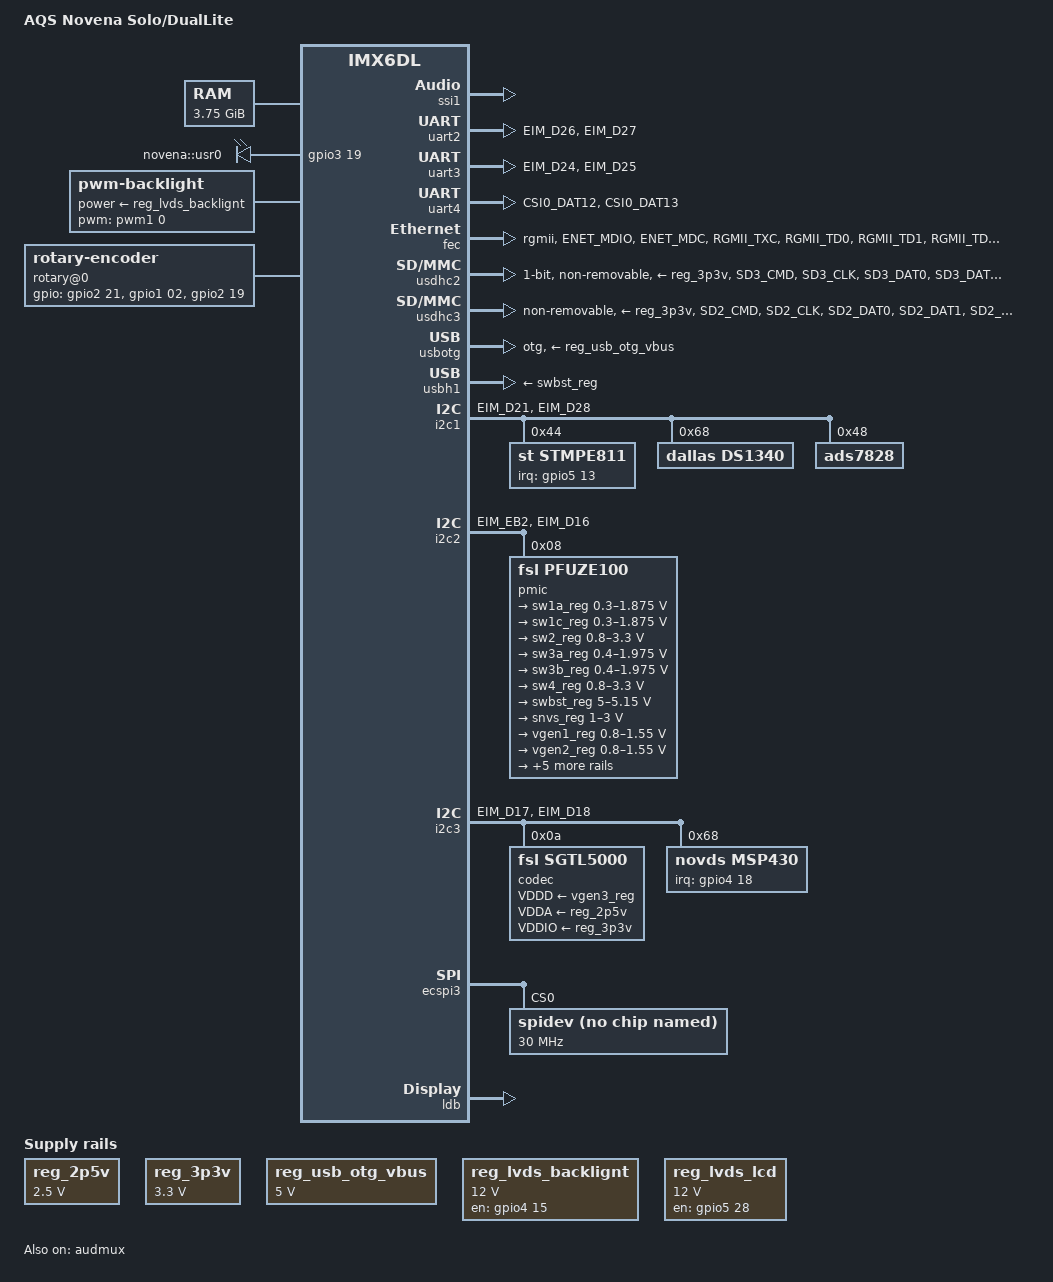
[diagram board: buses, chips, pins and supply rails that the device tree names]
/*
 * Copyright 2012 Freescale Semiconductor, Inc.
 * Copyright 2011 Linaro Ltd.
 *
 * The code contained herein is licensed under the GNU General Public
 * License. You may obtain a copy of the GNU General Public License
 * Version 2 or later at the following locations:
 *
 * http://www.opensource.org/licenses/gpl-license.html
 * http://www.gnu.org/copyleft/gpl.html
 */

/dts-v1/;

#include "imx6dl.dtsi"

/ {
	model = "AQS Novena Solo/DualLite";
	compatible = "aqs,novena-dl", "kosagi,novena-dl", "fsl,imx6dl";

	memory {
		reg = <0x10000000 0xefffffff>;
	};

	soc {
		aips-bus@0200000 {
			snvs@020cc000 {
				snvs-rtc-lp@34 {
					status = "disabled";
				};
			};
		};
	};

	regulators {
		compatible = "simple-bus";

		reg_2p5v: 2p5v {
			compatible = "regulator-fixed";
			regulator-name = "2P5V";
			regulator-min-microvolt = <2500000>;
			regulator-max-microvolt = <2500000>;
			regulator-always-on;
		};

		reg_3p3v: 3p3v {
			compatible = "regulator-fixed";
			regulator-name = "3P3V";
			regulator-min-microvolt = <3300000>;
			regulator-max-microvolt = <3300000>;
			regulator-always-on;
		};

		reg_usb_otg_vbus: usb_otg_vbus {
			compatible = "regulator-fixed";
			regulator-name = "usb_otg_vbus";
			regulator-min-microvolt = <5000000>;
			regulator-max-microvolt = <5000000>;
			enable-active-high;
		};
		reg_lvds_backlignt: lcd_backlight_regulator {
			compatible = "regulator-fixed";
			regulator-name = "lcd-backlight-power";
			regulator-min-microvolt = <12000000>;
			regulator-max-microvolt = <12000000>;
			gpio = <&gpio4 15 0>;
			enable-active-high;
			regulator-boot-on;
		};
		reg_lvds_lcd: lcd_pwr_ctrl {
			compatible = "regulator-fixed";
			regulator-name = "lcd-lvds-power";
			regulator-min-microvolt = <12000000>;
			regulator-max-microvolt = <12000000>;
			startup-delay-us = <50000>;
			gpio = <&gpio5 28 0>;
			enable-active-high;
			regulator-boot-on;
		};
	};

	imx-drm {
		compatible = "fsl,imx-drm";
		crtcs = <&ipu1 0>, <&ipu1 1>;
		connectors = <&ldb>;
	};

	leds {
		compatible = "gpio-leds";
		heartbeat {
			label = "novena::usr0";
			gpios = <&gpio3 19 0>;
			linux,default-trigger = "heartbeat";
		};
	};
	leds-novds {
		compatible = "leds-novds";
		pinctrl-names = "default";
		pinctrl-0 = <&pinctrl_leds_novds>;
	};


	backlight {
		compatible = "pwm-backlight";
		pwms = <&pwm1 0 10000000>;

		pinctrl-names = "default";
		pinctrl-0 = <&pinctrl_backlight_novena>;
		power-supply = <&reg_lvds_backlignt>;

		brightness-levels = <0 40 50 60 68 76 84 92 100 110 120>;
		default-brightness-level = <10>;
	};


	rotary@0 {
		compatible = "rotary-encoder";
		pinctrl-names = "default";
		pinctrl-0 = <&pinctrl_novds_wheel>;
		gpios = <&gpio2 21 0>, <&gpio1 02 0>, <&gpio2 19 0>;
		linux,axis = <8>; /* REL_WHEEL */
		rotary-encoder,relative-axis;
		rotary-encoder,half-period;
	};

	sound {
		compatible = "fsl,imx-audio-sgtl5000",
			     "fsl,imx-noventds-sgtl5000";
		model = "imx6dl-noventds-sgtl5000";
		ssi-controller = <&ssi1>;
		audio-codec = <&codec>;
		audio-routing =
			"MIC_IN", "Mic Jack",
			"Mic Jack", "Mic Bias",
			"Line out", "LINE_OUT";
		mux-int-port = <1>;
		mux-ext-port = <3>;
	};
};

&ssi1 {
	fsl,mode = "i2s-slave";
	status = "okay";
};

&uart2 {
	status = "okay";
	pinctrl-names = "default";
	pinctrl-0 = <&pinctrl_uart2_novena>;
};

&uart3 {
	status = "okay";
	pinctrl-names = "default";
	pinctrl-0 = <&pinctrl_uart3_novena>;
};

&uart4 {
	status = "okay";
	pinctrl-names = "default";
	pinctrl-0 = <&pinctrl_uart4_novena>;
};

&iomuxc {
	pinctrl-names = "default";
	pinctrl-0 = <&pinctrl_hog>;

	backlight {
		pinctrl_backlight_novena: backlight-pwm {
			fsl,pins = <
				MX6QDL_PAD_DISP0_DAT8__PWM1_OUT   0x1b0b0
				MX6QDL_PAD_CSI0_DAT10__GPIO5_IO28 0x80000000
				MX6QDL_PAD_KEY_ROW4__GPIO4_IO15   0x80000000
			>;
		};
	};

	enet {
		pinctrl_enet_novena: enetgrp-novena {
			fsl,pins = <
				MX6QDL_PAD_ENET_MDIO__ENET_MDIO       0x1b0b0
				MX6QDL_PAD_ENET_MDC__ENET_MDC         0x1b0b0
				MX6QDL_PAD_RGMII_TXC__RGMII_TXC       0x1b020
				MX6QDL_PAD_RGMII_TD0__RGMII_TD0       0x1b028
				MX6QDL_PAD_RGMII_TD1__RGMII_TD1       0x1b028
				MX6QDL_PAD_RGMII_TD2__RGMII_TD2       0x1b028
				MX6QDL_PAD_RGMII_TD3__RGMII_TD3       0x1b028
				MX6QDL_PAD_RGMII_TX_CTL__RGMII_TX_CTL 0x1b028
				MX6QDL_PAD_ENET_REF_CLK__ENET_TX_CLK  0x1b0b0
				MX6QDL_PAD_RGMII_RXC__RGMII_RXC       0x1b0b0
				MX6QDL_PAD_RGMII_RD0__RGMII_RD0       0x1b0b0
				MX6QDL_PAD_RGMII_RD1__RGMII_RD1       0x1b0b0
				MX6QDL_PAD_RGMII_RD2__RGMII_RD2       0x1b0b0
				MX6QDL_PAD_RGMII_RD3__RGMII_RD3       0x1b0b0
				MX6QDL_PAD_RGMII_RX_CTL__RGMII_RX_CTL 0x1b0b0
				MX6QDL_PAD_GPIO_16__ENET_REF_CLK      0x4001b0a8

				/* Ethernet reset */
				MX6QDL_PAD_EIM_D23__GPIO3_IO23  0x80000000
			>;
		};
	};

	i2c1 {
		pinctrl_i2c1_novena: i2c1grp-novena {
			fsl,pins = <
				MX6QDL_PAD_EIM_D21__I2C1_SCL 0x4001b8b1
				MX6QDL_PAD_EIM_D28__I2C1_SDA 0x4001b8b1
			>;
		};
	};
	i2c2 {
		pinctrl_i2c2_novena: i2c2grp-novena {
			fsl,pins = <
				MX6QDL_PAD_EIM_EB2__I2C2_SCL 0x4001b8b1
				MX6QDL_PAD_EIM_D16__I2C2_SDA 0x4001b8b1
			>;
		};
	};

	i2c3 {
		pinctrl_i2c3_novena: i2c3grp-novena {
			fsl,pins = <
				MX6QDL_PAD_EIM_D17__I2C3_SCL 0x4001b8b1
				MX6QDL_PAD_EIM_D18__I2C3_SDA 0x4001b8b1
			>;
		};
	};

	hog {
		pinctrl_hog: hoggrp {
			fsl,pins = <
				/* Touchscreen interrupt */
				MX6QDL_PAD_DISP0_DAT19__GPIO5_IO13 0x80000000

				/* zero valve */
				MX6QDL_PAD_DISP0_DAT5__GPIO4_IO26 0X80000000

				/* water full detector */
				MX6QDL_PAD_EIM_A16__GPIO2_IO22  0X80000000

				/* backup switch detector */
				MX6QDL_PAD_CSI0_DAT16__GPIO6_IO02 0X80000000

				/* power enable for delivery board */
				MX6QDL_PAD_DI0_PIN3__GPIO4_IO19 0X80000000
			>;
		};
	};

	pcie {
		pinctrl_pcie_novena: pciegrp-novena {
			fsl,pins = <
				/* Wakeup */
				MX6QDL_PAD_EIM_D22__GPIO3_IO22  0x80000000

				/* Reset */
				MX6QDL_PAD_EIM_D29__GPIO3_IO29  0x80000000

				/* Power On */
				MX6QDL_PAD_GPIO_17__GPIO7_IO12  0x80000000

				/* Wifi kill */
				MX6QDL_PAD_EIM_A22__GPIO2_IO16  0x80000000
			>;
		};
	};

	sound {
		pinctrl_sound_novena: sound-novena {
			fsl,pins = <
				/* Audio power regulator */
				MX6QDL_PAD_DISP0_DAT23__GPIO5_IO17 0x80000000

				/* Headphone plug */
				MX6QDL_PAD_DISP0_DAT21__GPIO5_IO15 0x80000000

				/* Speaker amplifier mute */
				MX6QDL_PAD_KEY_ROW1__GPIO4_IO09    0x80000000

				/* Audio mclk */
				MX6QDL_PAD_GPIO_0__CCM_CLKO1       0x80000000
			>;
		};
	};

	uart2 {
		pinctrl_uart2_novena: uart2grp-novena {
			fsl,pins = <
				MX6QDL_PAD_EIM_D26__UART2_TX_DATA   0x1b0b1
				MX6QDL_PAD_EIM_D27__UART2_RX_DATA   0x1b0b1
			>;
		};
	};

	uart3 {
		pinctrl_uart3_novena: uart3grp-novena {
			fsl,pins = <
				MX6QDL_PAD_EIM_D24__UART3_TX_DATA 0x1b0b1
				MX6QDL_PAD_EIM_D25__UART3_RX_DATA 0x1b0b1
			>;
		};
	};
	uart4 {
		pinctrl_uart4_novena: uart4-novena {
			fsl,pins = <
				MX6QDL_PAD_CSI0_DAT12__UART4_TX_DATA 0x1b0b1
				MX6QDL_PAD_CSI0_DAT13__UART4_RX_DATA 0x1b0b1
			>;
		};
	};

	usdhc3 {
		pinctrl_usdhc3_novena: usdhc3-novena {
			fsl,pins = <
				MX6QDL_PAD_SD2_CMD__SD2_CMD    0x17059
				MX6QDL_PAD_SD2_CLK__SD2_CLK    0x10059
				MX6QDL_PAD_SD2_DAT0__SD2_DATA0 0x17059
				MX6QDL_PAD_SD2_DAT1__SD2_DATA1 0x17059
				MX6QDL_PAD_SD2_DAT2__SD2_DATA2 0x17059
				MX6QDL_PAD_SD2_DAT3__SD2_DATA3 0x17059
			>;
		};
	};
	usdhc2 {
		pinctrl_novena_usdhc2: novena-usdhc2 {
			fsl,pins = <
				MX6QDL_PAD_SD3_CMD__SD3_CMD	0x17059
				MX6QDL_PAD_SD3_CLK__SD3_CLK	0x10059
				MX6QDL_PAD_SD3_DAT0__SD3_DATA0	0x17059
				MX6QDL_PAD_SD3_DAT1__SD3_DATA1	0x17059
				MX6QDL_PAD_SD3_DAT2__SD3_DATA2	0x17059
				MX6QDL_PAD_SD3_DAT3__SD3_DATA3	0x17059
				MX6QDL_PAD_SD3_DAT4__SD3_DATA4	0x17059
				MX6QDL_PAD_SD3_DAT5__SD3_DATA5	0x17059
				MX6QDL_PAD_SD3_DAT6__SD3_DATA6	0x17059
				MX6QDL_PAD_SD3_DAT7__SD3_DATA7	0x17059
				MX6QDL_PAD_SD3_RST__GPIO7_IO08	0x80000000
			>;
		};

		pinctrl_novena_usdhc2_100mhz: novena-usdhc3-100mhz {
			fsl,pins = <
				MX6QDL_PAD_SD3_CMD__SD3_CMD	0x170b9
				MX6QDL_PAD_SD3_CLK__SD3_CLK	0x100b9
				MX6QDL_PAD_SD3_DAT0__SD3_DATA0	0x170b9
				MX6QDL_PAD_SD3_DAT1__SD3_DATA1	0x170b9
				MX6QDL_PAD_SD3_DAT2__SD3_DATA2	0x170b9
				MX6QDL_PAD_SD3_DAT3__SD3_DATA3	0x130b9
				MX6QDL_PAD_SD3_DAT4__SD3_DATA4	0x170b9
				MX6QDL_PAD_SD3_DAT5__SD3_DATA5	0x170b9
				MX6QDL_PAD_SD3_DAT6__SD3_DATA6	0x170b9
				MX6QDL_PAD_SD3_DAT7__SD3_DATA7	0x130b9
				MX6QDL_PAD_SD3_RST__GPIO7_IO08	0x80000000
			>;
		};

		pinctrl_novena_usdhc2_200mhz: novena-usdhc3-200mhz {
			fsl,pins = <
				MX6QDL_PAD_SD3_CMD__SD3_CMD	0x170f9
				MX6QDL_PAD_SD3_CLK__SD3_CLK	0x100f9
				MX6QDL_PAD_SD3_DAT0__SD3_DATA0	0x170f9
				MX6QDL_PAD_SD3_DAT1__SD3_DATA1	0x170f9
				MX6QDL_PAD_SD3_DAT2__SD3_DATA2	0x170f9
				MX6QDL_PAD_SD3_DAT3__SD3_DATA3	0x130f9
				MX6QDL_PAD_SD3_DAT4__SD3_DATA4	0x170f9
				MX6QDL_PAD_SD3_DAT5__SD3_DATA5	0x170f9
				MX6QDL_PAD_SD3_DAT6__SD3_DATA6	0x170f9
				MX6QDL_PAD_SD3_DAT7__SD3_DATA7	0x130f9
				MX6QDL_PAD_SD3_RST__GPIO7_IO08	0x80000000
			>;
		};
	};
	novds_wheel {
		pinctrl_novds_wheel: novds-wheel {
			fsl,pins = <
				MX6QDL_PAD_EIM_A17__GPIO2_IO21  0x80000000
				MX6QDL_PAD_EIM_A19__GPIO2_IO19  0x80000000
				MX6QDL_PAD_GPIO_2__GPIO1_IO02   0x80000000
			>;
		};
	};
	leds_novds {
		pinctrl_leds_novds: leds-novds {
			fsl,pins = <
				MX6QDL_PAD_EIM_LBA__GPIO2_IO27 0x80000000
				MX6QDL_PAD_DISP0_DAT11__GPIO5_IO05 0x80000000
				MX6QDL_PAD_EIM_RW__GPIO2_IO26 0x80000000
			>;
		};
	};

};

&fec {
	status = "okay";
	pinctrl-names = "default";
	pinctrl-0 = <&pinctrl_enet_novena>;
	phy-mode = "rgmii";
	phy-reset-gpios = <&gpio3 23 0>;
	mac-address = [00 00 00 00 00 00];
	rxc-skew-ps = <3000>;
	rxdv-skew-ps = <0>;
	txc-skew-ps = <3000>;
	txen-skew-ps = <0>;
	rxd0-skew-ps = <0>;
	rxd1-skew-ps = <0>;
	rxd2-skew-ps = <0>;
	rxd3-skew-ps = <0>;
	txd0-skew-ps = <3000>;
	txd1-skew-ps = <3000>;
	txd2-skew-ps = <3000>;
	txd3-skew-ps = <3000>;
};

/* iNAND */
&usdhc2 {
    pinctrl-names = "default", "state_100mhz", "state_200mhz";
    pinctrl-0 = <&pinctrl_novena_usdhc2>;
    pinctrl-1 = <&pinctrl_novena_usdhc2_100mhz>;
    pinctrl-2 = <&pinctrl_novena_usdhc2_200mhz>;
	non-removable;
	bus-width = <1>;
	card-reset-gpios = <&gpio7 8 1>;
	vmmc-supply = <&reg_3p3v>;
	status = "okay";
};


/* Removable MicroSD */
&usdhc3 {
	pinctrl-names = "default";
	pinctrl-0 = <&pinctrl_usdhc3_novena>;
	non-removable;
	vmmc-supply = <&reg_3p3v>;
	status = "okay";
};

&usbotg {
	vbus-supply = <&reg_usb_otg_vbus>;
	dr_mode = "otg";
	pinctrl-names = "default";
	pinctrl-0 = <&pinctrl_usbotg_2>;
	disable-over-current;
	status = "okay";
};

&usbh1 {
	status = "okay";
	vbus-supply = <&swbst_reg>;
};

&audmux {
	status = "okay";
	pinctrl-names = "default";
	pinctrl-0 = <&pinctrl_audmux_2>;
};

&i2c1 {
	pinctrl-names = "default";
	pinctrl-0 = <&pinctrl_i2c1_novena>;
	status = "okay";

	stmpe811@44 {
		status = "okay";
		compatible = "st,stmpe811";
		#address-cells = <1>;
		#size-cells = <0>;
		reg = <0x44>;
		irq-over-gpio;
		irq-gpios = <&gpio5 13 0>;
		irq-trigger = <0x1>;
		id = <0>;
		blocks = <0x5>;

		stmpe_touchscreen {
			compatible = "st,stmpe-ts";
			st,sample-time = <4>;
			st,mod-12b = <1>;
			st,ref-sel = <0>;
			st,adc-freq = <1>;
			st,ave-ctrl = <1>;
			st,touch-det-delay = <2>;
			st,settling = <2>;
			st,fraction-z = <7>;
			st,i-drive = <1>;
		};
	};

	ds1340@68 {
		compatible = "dallas,ds1340";
		status = "okay";
		reg = <0x68>;
	};
	ads7828@48 {
		compatible = "ads7828";
		status = "okay";
		reg = <0x48>;
		vref_mv = "2500";
	};
};

&i2c2 {
	pinctrl-names = "default";
	pinctrl-0 = <&pinctrl_i2c2_novena>;
	status = "okay";

	pmic: pfuze100@08 {
		compatible = "fsl,pfuze100";
		reg = <0x08>;
		status = "okay";

		regulators {
			sw1a_reg: sw1ab {
				regulator-min-microvolt = <300000>;
				regulator-max-microvolt = <1875000>;
				regulator-boot-on;
				regulator-always-on;
				regulator-ramp-delay = <6250>;
			};

			sw1c_reg: sw1c {
				regulator-min-microvolt = <300000>;
				regulator-max-microvolt = <1875000>;
				regulator-boot-on;
				regulator-always-on;
			};

			sw2_reg: sw2 {
				regulator-min-microvolt = <800000>;
				regulator-max-microvolt = <3300000>;
				regulator-boot-on;
				regulator-always-on;
			};

			sw3a_reg: sw3a {
				regulator-min-microvolt = <400000>;
				regulator-max-microvolt = <1975000>;
				regulator-boot-on;
				regulator-always-on;
			};

			sw3b_reg: sw3b {
				regulator-min-microvolt = <400000>;
				regulator-max-microvolt = <1975000>;
				regulator-boot-on;
				regulator-always-on;
			};

			sw4_reg: sw4 {
				regulator-min-microvolt = <800000>;
				regulator-max-microvolt = <3300000>;
			};

			swbst_reg: swbst {
				regulator-min-microvolt = <5000000>;
				regulator-max-microvolt = <5150000>;
				regulator-boot-on;
			};

			snvs_reg: vsnvs {
				regulator-min-microvolt = <1000000>;
				regulator-max-microvolt = <3000000>;
				regulator-boot-on;
				regulator-always-on;
			};

			vref_reg: vrefddr {
				regulator-boot-on;
				regulator-always-on;
			};

			vgen1_reg: vgen1 {
				regulator-min-microvolt = <800000>;
				regulator-max-microvolt = <1550000>;
			};

			vgen2_reg: vgen2 {
				regulator-min-microvolt = <800000>;
				regulator-max-microvolt = <1550000>;
			};

			vgen3_reg: vgen3 {
				regulator-min-microvolt = <1800000>;
				regulator-max-microvolt = <3300000>;
				regulator-boot-on;
				regulator-always-on;
			};

			vgen4_reg: vgen4 {
				regulator-min-microvolt = <1800000>;
				regulator-max-microvolt = <3300000>;
				regulator-always-on;
			};

			vgen5_reg: vgen5 {
				regulator-min-microvolt = <1800000>;
				regulator-max-microvolt = <3300000>;
				regulator-always-on;
			};

			vgen6_reg: vgen6 {
				regulator-min-microvolt = <1800000>;
				regulator-max-microvolt = <3300000>;
				regulator-always-on;
			};

			coin_reg: coin {
				regulator-min-microvolt = <3300000>;
				regulator-max-microvolt = <3300000>;
				regulator-always-on;
				regulator-boot-on;
			};
		};
	};
};

&i2c3 {
	pinctrl-names = "default";
	pinctrl-0 = <&pinctrl_i2c3_novena>;
	status = "okay";

	codec: sgtl5000@0a {
		pinctrl-names = "default";
		pinctrl-0 = <&pinctrl_sound_novena>;
		compatible = "fsl,sgtl5000";
		reg = <0x0a>;
		clocks = <&clks 201>;
		VDDD-supply = <&vgen3_reg>;
		VDDA-supply = <&reg_2p5v>;
		VDDIO-supply = <&reg_3p3v>;
	};

	msp430@68 {
		compatible = "novds,msp430";
		status = "okay";
		reg = <0x68>;
		irq-over-gpio;
		irq-gpios = <&gpio4 18 0>;
		irq-trigger = <0x1>;
	};
};

&ecspi3 {
	pinctrl-names = "default";
	pinctrl-0 = <&pinctrl_ecspi3_1>;
	fsl,spi-num-chipselects = <3>;
	status = "okay";

	spidev@0 {
		compatible = "spidev";
		spi-max-frequency = <30000000>;
		reg = <0>;
	};
};

&ldb {
	status = "okay";

	lvds-channel@0 {
		fsl,data-mapping = "spwg";
		fsl,data-width = <24>;
		status = "okay";

		display-timings {
			native-mode = <&timing0>;
			timing0: 800x480p60 {
				clock-frequency = <29500000>;
				hactive = <800>;
				vactive = <480>;
				hback-porch = <100>;
				hfront-porch = <50>;
				hsync-len = <42>;
				vback-porch = <10>;
				vfront-porch = <5>;
				vsync-len = <5>;
				hsync-active = <1>;
				vsync-active = <1>;
			};
		};
	};
};
